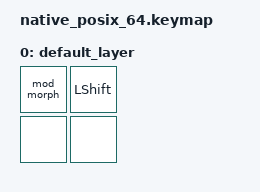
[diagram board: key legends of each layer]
#include <dt-bindings/zmk/keys.h>
#include <behaviors.dtsi>
#include <dt-bindings/zmk/kscan_mock.h>

/ {
    behaviors {
        mod_morph: mod_morph {
            compatible = "zmk,behavior-mod-morph";
            #binding-cells = <0>;
            /* &out has no release callback, so releasing it returns -ENOTSUP. */
            bindings = <&kp A>, <&out 99>;
            mods = <MOD_LSFT>;
        };
    };

    keymap {
        compatible = "zmk,keymap";

        default_layer {
            bindings = <
                &mod_morph &kp LEFT_SHIFT
                &none      &none
            >;
        };
    };
};

&kscan {
    events = <
        ZMK_MOCK_PRESS(0,1,10)
        ZMK_MOCK_PRESS(0,0,10)
        ZMK_MOCK_RELEASE(0,0,10)
        ZMK_MOCK_RELEASE(0,1,10)
    >;
};
